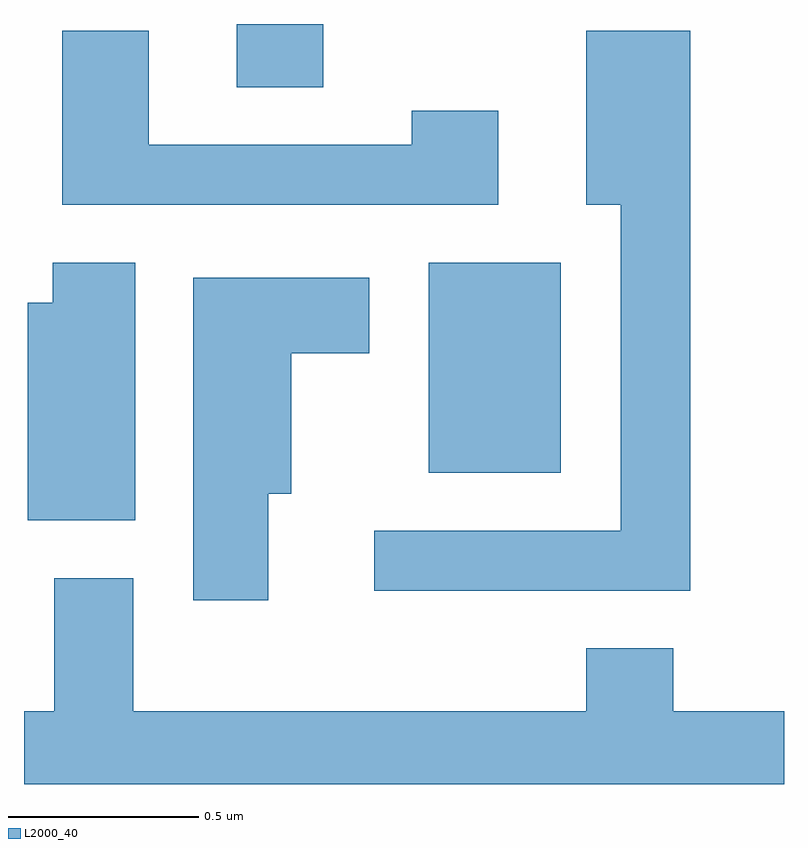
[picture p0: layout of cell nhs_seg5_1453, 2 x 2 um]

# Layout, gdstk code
import gdstk
lib = gdstk.Library(unit=1e-6, precision=1e-09)
def R(c, l, rs):  # rectangles x0, y0, x1, y1
    for r in rs: c.add(gdstk.rectangle(r[:2], r[2:], *l))
def P(c, l, *ps):  # polygons
    for p in ps: c.add(gdstk.Polygon(p, *l))
L2000_40 = (2000, 40)

nhs_seg5_1453 = lib.new_cell('nhs_seg5_1453')
R(nhs_seg5_1453, L2000_40, [(196.676,1479.891,197.024,1480.444), (196.171,1480.906,196.399,1481.072)])
P(nhs_seg5_1453, L2000_40, [(197.364,1481.054),(197.091,1481.054),(197.091,1480.596),(197.181,1480.596),(197.181,1479.739),(196.533,1479.739),(196.533,1479.581),(197.364,1479.581)],
  [(196.859,1480.844),(196.631,1480.844),(196.631,1480.754),(195.939,1480.754),(195.939,1481.054),(195.711,1481.054),(195.711,1480.596),(196.859,1480.596)],
  [(195.904,1480.444),(195.686,1480.444),(195.686,1480.339),(195.621,1480.339),(195.621,1479.766),(195.904,1479.766)],
  [(196.254,1479.836),(196.314,1479.836),(196.314,1480.206),(196.519,1480.206),(196.519,1480.404),(196.056,1480.404),(196.056,1479.556),(196.254,1479.556)],
  [(197.611,1479.264),(197.319,1479.264),(197.319,1479.429),(197.091,1479.429),(197.091,1479.264),(195.899,1479.264),(195.899,1479.614),(195.691,1479.614),(195.691,1479.264),(195.611,1479.264),(195.611,1479.072),(197.611,1479.072)])

lib.write_gds('nhs_seg5_1453.gds')
